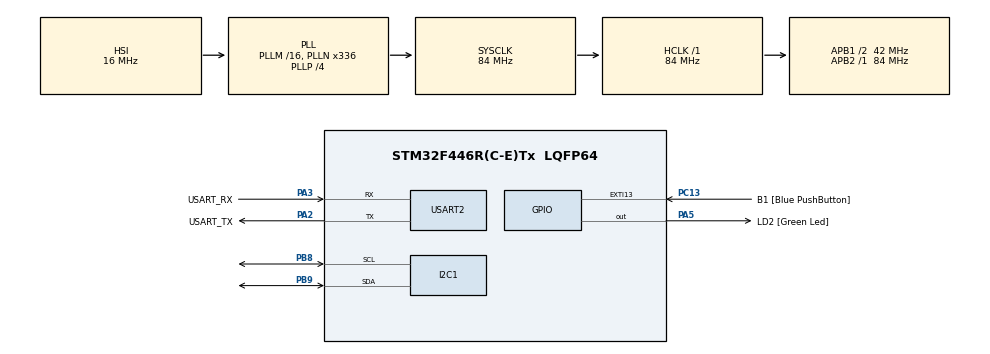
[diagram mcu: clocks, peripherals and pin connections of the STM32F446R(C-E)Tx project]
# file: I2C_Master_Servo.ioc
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Dma.I2C1_TX.0.Direction=DMA_MEMORY_TO_PERIPH
Dma.I2C1_TX.0.FIFOMode=DMA_FIFOMODE_DISABLE
Dma.I2C1_TX.0.Instance=DMA1_Stream6
Dma.I2C1_TX.0.MemDataAlignment=DMA_MDATAALIGN_BYTE
Dma.I2C1_TX.0.MemInc=DMA_MINC_ENABLE
Dma.I2C1_TX.0.Mode=DMA_NORMAL
Dma.I2C1_TX.0.PeriphDataAlignment=DMA_PDATAALIGN_BYTE
Dma.I2C1_TX.0.PeriphInc=DMA_PINC_DISABLE
Dma.I2C1_TX.0.Priority=DMA_PRIORITY_LOW
Dma.Request0=I2C1_TX
Mcu.Family=STM32F4
Mcu.Name=STM32F446R(C-E)Tx
Mcu.Package=LQFP64
NVIC.DMA1_Stream6_IRQn=true\:0\:0\:false\:false\:true\:false\:true\:true
NVIC.I2C1_ER_IRQn=true\:0\:0\:false\:false\:true\:true\:true\:true
NVIC.I2C1_EV_IRQn=true\:0\:0\:false\:false\:true\:true\:true\:true
NVIC.PriorityGroup=NVIC_PRIORITYGROUP_0
PA13.GPIO_Label=TMS
PA13.Mode=Serial_Wire
PA13.Signal=SYS_JTMS-SWDIO
PA14.GPIO_Label=TCK
PA14.Mode=Serial_Wire
PA14.Signal=SYS_JTCK-SWCLK
PA2.GPIO_Label=USART_TX
PA2.Mode=Asynchronous
PA2.Signal=USART2_TX
PA3.GPIO_Label=USART_RX
PA3.Mode=Asynchronous
PA3.Signal=USART2_RX
PA5.GPIO_Label=LD2 [Green Led]
PA5.Signal=GPIO_Output
PB3.GPIO_Label=SWO
PB3.Signal=SYS_JTDO-SWO
PB8.Mode=I2C
PB8.Signal=I2C1_SCL
PB9.Mode=I2C
PB9.Signal=I2C1_SDA
PC13.GPIO_Label=B1 [Blue PushButton]
PC13.GPIO_ModeDefaultEXTI=GPIO_MODE_IT_FALLING
PC13.Signal=GPXTI13
PC14-OSC32_IN.Mode=LSE-External-Oscillator
PC14-OSC32_IN.Signal=RCC_OSC32_IN
PC15-OSC32_OUT.Mode=LSE-External-Oscillator
PC15-OSC32_OUT.Signal=RCC_OSC32_OUT
PH0-OSC_IN.Mode=HSE-External-Oscillator
PH0-OSC_IN.Signal=RCC_OSC_IN
PH1-OSC_OUT.Mode=HSE-External-Oscillator
PH1-OSC_OUT.Signal=RCC_OSC_OUT
ProjectManager.HeapSize=0x200
ProjectManager.StackSize=0x400
ProjectManager.TargetToolchain=STM32CubeIDE
RCC.48MHZClocksFreq_Value=84000000
RCC.AHBFreq_Value=84000000
RCC.APB1CLKDivider=RCC_HCLK_DIV2
RCC.APB1Freq_Value=42000000
RCC.APB1TimFreq_Value=84000000
RCC.APB2Freq_Value=84000000
RCC.APB2TimFreq_Value=84000000
RCC.CortexFreq_Value=84000000
RCC.FLatency-AdvancedSettings=FLASH_LATENCY_2
RCC.HCLKFreq_Value=84000000
RCC.HSE_VALUE=8000000
RCC.HSI_VALUE=16000000
RCC.PLLN=336
RCC.PLLP=RCC_PLLP_DIV4
RCC.SYSCLKFreq_VALUE=84000000
RCC.SYSCLKSource=RCC_SYSCLKSOURCE_PLLCLK
RCC.USBFreq_Value=168000000
RCC.VCOOutputFreq_Value=336000000
USART2.VirtualMode=VM_ASYNC
board=NUCLEO-F446RE

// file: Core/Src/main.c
/* USER CODE BEGIN Header */
/**
  ******************************************************************************
  * @file           : main.c
  * @brief          : Main program body
  ******************************************************************************
  * @attention
  *
  * Copyright (c) 2025 STMicroelectronics.
  * All rights reserved.
  *
  * This software is licensed under terms that can be found in the LICENSE file
  * in the root directory of this software component.
  * If no LICENSE file comes with this software, it is provided AS-IS.
  *
  ******************************************************************************
  */
/* USER CODE END Header */
#include "main.h"

/* USER CODE BEGIN Includes */
#include <string.h>
#include <stdlib.h>
#include <stdio.h>
/* USER CODE END Includes */

I2C_HandleTypeDef hi2c1;
DMA_HandleTypeDef hdma_i2c1_tx;

UART_HandleTypeDef huart2;

/* USER CODE BEGIN PV */
char uart_buffer[10];  		// UART input buffer
uint16_t tx_angle;			// Angle to send via I2C
uint8_t i = 0;				// UART input index
char rx;					// Character received from UART
uint8_t ready_to_send = 1;	// Flag to indicate readiness to send
/* USER CODE END PV */

void SystemClock_Config(void);
static void MX_GPIO_Init(void);
static void MX_DMA_Init(void);
static void MX_USART2_UART_Init(void);
static void MX_I2C1_Init(void);
/* USER CODE BEGIN PFP */
void HAL_I2C_MasterTxCpltCallback(I2C_HandleTypeDef *hi2c);		// I2C transmission complete callback
/* USER CODE END PFP */

int main(void)
{

  /* MCU Configuration--------------------------------------------------------*/

  /* Reset of all peripherals, Initializes the Flash interface and the Systick. */
  HAL_Init();

  /* Configure the system clock */
  SystemClock_Config();

  /* Initialize all configured peripherals */
  MX_GPIO_Init();
  MX_DMA_Init();
  MX_USART2_UART_Init();
  MX_I2C1_Init();
  /* USER CODE BEGIN 2 */
  HAL_UART_Transmit(&huart2, (uint8_t *)"Enter angle:\r\n", 14, 100);		// Prompt the user
  /* USER CODE END 2 */

  /* Infinite loop */
  /* USER CODE BEGIN WHILE */
  while (1)
  {
	  // Wait for a character from UART
	  if (HAL_UART_Receive(&huart2, (uint8_t *)&rx, 1, HAL_MAX_DELAY) == HAL_OK)
	      {
			// Enter key detected
	        if (rx == '\r' || rx == '\n')
	        {
				// Null-terminate string
				uart_buffer[i] = '\0';
				// Convert to integer
				tx_angle = atoi(uart_buffer);
				// Reset buffer index
				i = 0;
				// Clear buffer
				memset(uart_buffer, 0, sizeof(uart_buffer));

				// If ready to send over I2C
				if (ready_to_send)
				{
					ready_to_send = 0;
					// Send angle as 2 bytes over I2C
					HAL_I2C_Master_Transmit_IT(&hi2c1, 0x08 << 1, (uint8_t*)&tx_angle, 2);
				}
	        }
	        else if (i < sizeof(uart_buffer) - 1)
	        {
				// Add char to buffer
				uart_buffer[i++] = rx;
	        }
	      }
    /* USER CODE END WHILE */

  }
}

void SystemClock_Config(void)
{
  RCC_OscInitTypeDef RCC_OscInitStruct = {0};
  RCC_ClkInitTypeDef RCC_ClkInitStruct = {0};

  /** Configure the main internal regulator output voltage
  */
  __HAL_RCC_PWR_CLK_ENABLE();
  __HAL_PWR_VOLTAGESCALING_CONFIG(PWR_REGULATOR_VOLTAGE_SCALE3);

  /** Initializes the RCC Oscillators according to the specified parameters
  * in the RCC_OscInitTypeDef structure.
  */
  RCC_OscInitStruct.OscillatorType = RCC_OSCILLATORTYPE_HSI;
  RCC_OscInitStruct.HSIState = RCC_HSI_ON;
  RCC_OscInitStruct.HSICalibrationValue = RCC_HSICALIBRATION_DEFAULT;
  RCC_OscInitStruct.PLL.PLLState = RCC_PLL_ON;
  RCC_OscInitStruct.PLL.PLLSource = RCC_PLLSOURCE_HSI;
  RCC_OscInitStruct.PLL.PLLM = 16;
  RCC_OscInitStruct.PLL.PLLN = 336;
  RCC_OscInitStruct.PLL.PLLP = RCC_PLLP_DIV4;
  RCC_OscInitStruct.PLL.PLLQ = 2;
  RCC_OscInitStruct.PLL.PLLR = 2;
  if (HAL_RCC_OscConfig(&RCC_OscInitStruct) != HAL_OK)
  {
    Error_Handler();
  }

  /** Initializes the CPU, AHB and APB buses clocks
  */
  RCC_ClkInitStruct.ClockType = RCC_CLOCKTYPE_HCLK|RCC_CLOCKTYPE_SYSCLK
                              |RCC_CLOCKTYPE_PCLK1|RCC_CLOCKTYPE_PCLK2;
  RCC_ClkInitStruct.SYSCLKSource = RCC_SYSCLKSOURCE_PLLCLK;
  RCC_ClkInitStruct.AHBCLKDivider = RCC_SYSCLK_DIV1;
  RCC_ClkInitStruct.APB1CLKDivider = RCC_HCLK_DIV2;
  RCC_ClkInitStruct.APB2CLKDivider = RCC_HCLK_DIV1;

  if (HAL_RCC_ClockConfig(&RCC_ClkInitStruct, FLASH_LATENCY_2) != HAL_OK)
  {
    Error_Handler();
  }
}

static void MX_I2C1_Init(void)
{

  hi2c1.Instance = I2C1;
  hi2c1.Init.ClockSpeed = 100000;
  hi2c1.Init.DutyCycle = I2C_DUTYCYCLE_2;
  hi2c1.Init.OwnAddress1 = 0;
  hi2c1.Init.AddressingMode = I2C_ADDRESSINGMODE_7BIT;
  hi2c1.Init.DualAddressMode = I2C_DUALADDRESS_DISABLE;
  hi2c1.Init.OwnAddress2 = 0;
  hi2c1.Init.GeneralCallMode = I2C_GENERALCALL_DISABLE;
  hi2c1.Init.NoStretchMode = I2C_NOSTRETCH_DISABLE;
  if (HAL_I2C_Init(&hi2c1) != HAL_OK)
  {
    Error_Handler();
  }

}

static void MX_USART2_UART_Init(void)
{

  huart2.Instance = USART2;
  huart2.Init.BaudRate = 115200;
  huart2.Init.WordLength = UART_WORDLENGTH_8B;
  huart2.Init.StopBits = UART_STOPBITS_1;
  huart2.Init.Parity = UART_PARITY_NONE;
  huart2.Init.Mode = UART_MODE_TX_RX;
  huart2.Init.HwFlowCtl = UART_HWCONTROL_NONE;
  huart2.Init.OverSampling = UART_OVERSAMPLING_16;
  if (HAL_UART_Init(&huart2) != HAL_OK)
  {
    Error_Handler();
  }

}

static void MX_DMA_Init(void)
{

  /* DMA controller clock enable */
  __HAL_RCC_DMA1_CLK_ENABLE();

  /* DMA interrupt init */
  /* DMA1_Stream6_IRQn interrupt configuration */
  HAL_NVIC_SetPriority(DMA1_Stream6_IRQn, 0, 0);
  HAL_NVIC_EnableIRQ(DMA1_Stream6_IRQn);

}

static void MX_GPIO_Init(void)
{
  GPIO_InitTypeDef GPIO_InitStruct = {0};

  /* GPIO Ports Clock Enable */
  __HAL_RCC_GPIOC_CLK_ENABLE();
  __HAL_RCC_GPIOH_CLK_ENABLE();
  __HAL_RCC_GPIOA_CLK_ENABLE();
  __HAL_RCC_GPIOB_CLK_ENABLE();

  /*Configure GPIO pin Output Level */
  HAL_GPIO_WritePin(LD2_GPIO_Port, LD2_Pin, GPIO_PIN_RESET);

  /*Configure GPIO pin : B1_Pin */
  GPIO_InitStruct.Pin = B1_Pin;
  GPIO_InitStruct.Mode = GPIO_MODE_IT_FALLING;
  GPIO_InitStruct.Pull = GPIO_NOPULL;
  HAL_GPIO_Init(B1_GPIO_Port, &GPIO_InitStruct);

  /*Configure GPIO pin : LD2_Pin */
  GPIO_InitStruct.Pin = LD2_Pin;
  GPIO_InitStruct.Mode = GPIO_MODE_OUTPUT_PP;
  GPIO_InitStruct.Pull = GPIO_NOPULL;
  GPIO_InitStruct.Speed = GPIO_SPEED_FREQ_LOW;
  HAL_GPIO_Init(LD2_GPIO_Port, &GPIO_InitStruct);

}

/* USER CODE BEGIN 4 */
// I2C Transmission complete callback
void HAL_I2C_MasterTxCpltCallback(I2C_HandleTypeDef *hi2c)
{
    ready_to_send = 1;
    char msg[30];
    sprintf(msg, "Sent angle: %d\r\n", tx_angle);
    HAL_UART_Transmit(&huart2, (uint8_t *)msg, strlen(msg), 100);
}
/* USER CODE END 4 */

void Error_Handler(void)
{
  __disable_irq();
  while (1)
  {
  }
}
